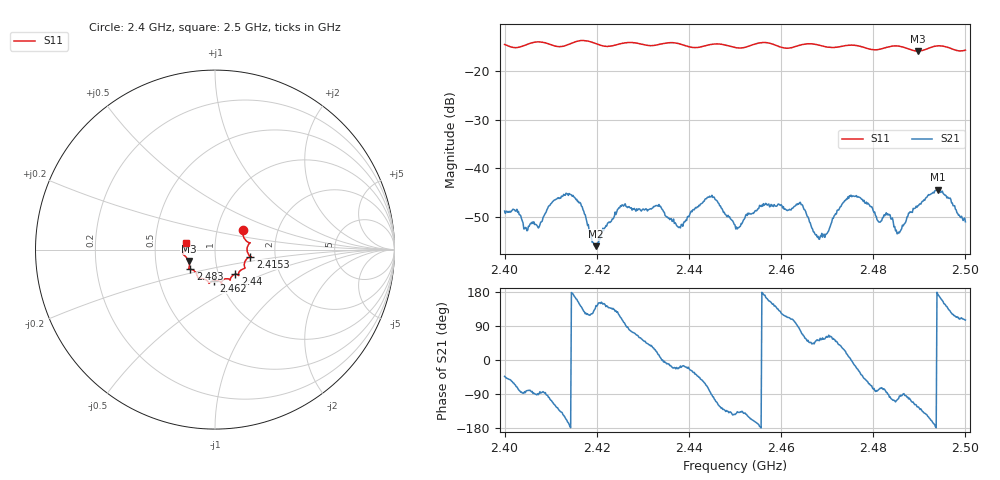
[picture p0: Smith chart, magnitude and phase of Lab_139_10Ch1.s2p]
# Hz S RI R
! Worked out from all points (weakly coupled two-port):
!   601 points, 2.4 GHz to 2.5 GHz, reference 50 ohm
!   highest |S21| = -44.47 dB at 2.494 GHz (marker M1); lowest = -56.1 dB at 2.4198 GHz (marker M2)
!   lowest |S11| = -15.9 dB at 2.4897 GHz (marker M3), VSWR 1.38, Z = 36.9 - j4.81 ohm
!   |S11| at or under -10 dB: start of sweep to end of sweep
!   S12 and S22 are empty: the file has one direction only
!   S11 on the Smith chart (normalised r, x): 2.4 GHz: 1.33, +0.29; 2.4153 GHz: 1.48, -0.12; 2.44 GHz: 1.20, -0.34; 2.462 GHz: 0.93, -0.33; 2.483 GHz: 0.74, -0.17; 2.5 GHz: 0.72, +0.06
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2.4e9  0.1548 0.1065  0.00263 -0.00247  0 0  0 0
2.404667e9  0.1815 0.0427  0.000359 -0.0024  0 0  0 0
2.415333e9  0.1962 -0.0385  -0.00472 0.00126  0 0  0 0
2.416667e9  0.2019 -0.0425  -0.00312 0.0026  0 0  0 0
2.419833e9  0.1861 -0.0449  -0.00126 0.000928  0 0  0 0
2.425167e9  0.1652 -0.0966  -0.00155 0.0038  0 0  0 0
2.433333e9  0.1311 -0.1336  0.00391 0.000991  0 0  0 0
2.437667e9  0.1302 -0.1414  0.00227 -0.000958  0 0  0 0
2.44e9  0.1139 -0.1368  0.00292 -0.00116  0 0  0 0
2.445e9  0.0846 -0.1686  -0.000186 -0.00524  0 0  0 0
2.45e9  0.0647 -0.1624  -0.0021 -0.00153  0 0  0 0
2.462e9  -0.00505 -0.1731  -0.00122 0.00351  0 0  0 0
2.464333e9  -0.0291 -0.1839  0.00114 0.00405  0 0  0 0
2.466667e9  -0.0341 -0.1877  0.00178 0.00163  0 0  0 0
2.4695e9  -0.0436 -0.1734  0.00109 0.0016  0 0  0 0
2.475333e9  -0.0931 -0.16  0.00506 -0.000182  0 0  0 0
2.483e9  -0.1377 -0.1095  0.000243 -0.00328  0 0  0 0
2.483333e9  -0.1402 -0.1094  -7.08e-05 -0.00328  0 0  0 0
2.485667e9  -0.146 -0.1058  -0.000195 -0.00214  0 0  0 0
2.489667e9  -0.1474 -0.0635  -0.00228 -0.00339  0 0  0 0
2.494e9  -0.1804 -0.0229  -0.00594 0.000673  0 0  0 0
2.5e9  -0.1596 0.0392  -0.000744 0.00269  0 0  0 0
